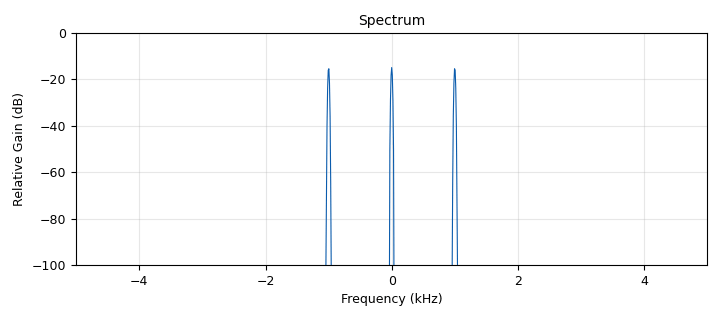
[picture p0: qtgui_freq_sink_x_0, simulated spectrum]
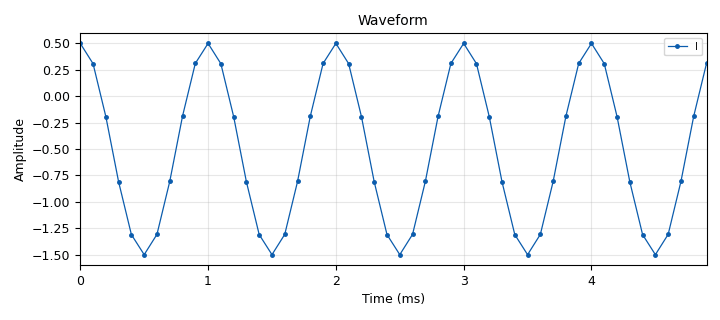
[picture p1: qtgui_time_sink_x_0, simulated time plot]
options:
  parameters:
    author: Jay Patel
    description: Sampling and Aliasing
    generate_options: qt_gui
    id: sampling_aliasing
    output_language: python
    title: Sampling and Aliasing
  states: {}

blocks:
- name: samp_rate
  id: variable_qtgui_chooser
  parameters:
    label: Sample Rate
    label0: 8 kHz
    label1: 16 kHz
    label2: 32 kHz
    num_opts: '3'
    option0: '8000'
    option1: '16000'
    option2: '32000'
    orient: Qt.QHBoxLayout
    type: int
    value: '16000'
    widget: radio_buttons
  states: {state: disabled}
- name: samp_rate
  id: variable_qtgui_range
  parameters:
    label: samp_rate
    orient: Qt.Horizontal
    rangeType: int
    start: '7000'
    step: '100'
    stop: '40000'
    value: '10000'
  states: {}
- name: signal_freq
  id: variable_qtgui_range
  parameters:
    label: Signal Frequency
    orient: Qt.Horizontal
    start: '0'
    step: '1000'
    stop: '19000'
    value: '1000'
  states: {}
- name: waveform
  id: variable_qtgui_chooser
  parameters:
    label: Waveform
    label0: Cosine
    label1: Square
    label2: Triangle
    num_opts: '3'
    option0: '102'
    option1: '103'
    option2: '104'
    orient: Qt.QHBoxLayout
    type: int
    value: '102'
    widget: radio_buttons
  states: {}
- name: analog_sig_source_x_0
  id: analog_sig_source_x
  parameters:
    amp: '1'
    comment: |-
      For Sine wave / Cosine wave from -1 to 1:
      ------------------------------------------------------------------------
      Go to Signal Source -> change amplitude to 1 and offset to 0


      For Square wave / Triangle wave from -0.5 to 0.5:
      ------------------------------------------------------------------------
      Go to Signal Source -> change amplitude to 1 and offset to -0.5
    freq: signal_freq
    offset: '-0.5'
    phase: '0'
    samp_rate: samp_rate
    type: float
    waveform: waveform
  states: {}
- name: blocks_throttle_0
  id: blocks_throttle
  parameters:
    samples_per_second: samp_rate
    type: float
  states: {}
- name: qtgui_freq_sink_x_0
  id: qtgui_freq_sink_x
  parameters:
    alpha1: '2.0'
    bw: samp_rate
    fc: '0'
    fftsize: '1024'
    grid: 'True'
    legend: 'False'
    name: Spectrum
    showports: 'True'
    type: float
    wintype: firdes.WIN_BLACKMAN_hARRIS
    ymax: '0'
    ymin: '-100'
  states: {}
- name: qtgui_sink_x_0
  id: qtgui_sink_x
  parameters:
    bw: samp_rate
    fc: '0'
    fftsize: '1024'
    name: All Signals
    type: float
    wintype: firdes.WIN_BLACKMAN_hARRIS
  states: {state: disabled}
- name: qtgui_time_sink_x_0
  id: qtgui_time_sink_x
  parameters:
    autoscale: 'True'
    grid: 'True'
    label1: I
    marker1: '0'
    name: Waveform
    size: '50'
    srate: samp_rate
    type: float
  states: {}

connections:
- [analog_sig_source_x_0, '0', blocks_throttle_0, '0']
- [blocks_throttle_0, '0', qtgui_freq_sink_x_0, '0']
- [blocks_throttle_0, '0', qtgui_sink_x_0, '0']
- [blocks_throttle_0, '0', qtgui_time_sink_x_0, '0']

metadata:
  file_format: 1
